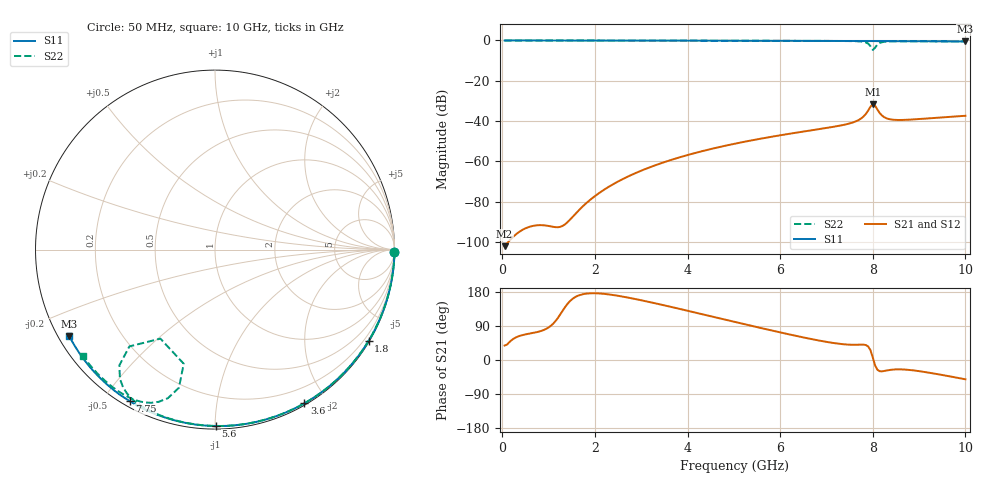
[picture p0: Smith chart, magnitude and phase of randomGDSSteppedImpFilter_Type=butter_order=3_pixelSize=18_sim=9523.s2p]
! freq	dB(S11)	phase(S11)	dB(S12)	phase(S12)
!  dB(S21)	phase(S21)	dB(S22)	phase(S22)
!S-par simulation data
#  GHz  S  DB  R 50
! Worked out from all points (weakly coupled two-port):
!   200 points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, 50 MHz to 10 GHz, reference 50 ohm
!   highest |S21| = -31.65 dB at 8 GHz (marker M1); lowest = -102.2 dB at 50 MHz (marker M2)
!   lowest |S11| = -0.5 dB at 10 GHz (marker M3), VSWR 34.74, Z = 1.55 - j13.7 ohm
!   |S11| at or under -10 dB: nowhere
!   |S22| runs from -4.7 to 0.0 dB; largest |S21 - S12| = 0
!   S11 on the Smith chart (normalised r, x): 50 MHz: open; 1.8 GHz: 0.03, -3.64; 3.6 GHz: 0.02, -1.74; 5.6 GHz: 0.02, -1.00; 7.75 GHz: 0.02, -0.58; 10 GHz: 0.03, -0.27
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0.05  -0.00 -0.9  -102.16 38.1  -102.16 38.1  -0.00 -0.8
1.75  -0.04 -29.8  -82.13 173.9  -82.13 173.9  -0.04 -28.6
1.8  -0.04 -30.7  -81.07 174.9  -81.07 174.9  -0.04 -29.4
1.85  -0.04 -31.5  -80.06 175.6  -80.06 175.6  -0.04 -30.2
2.2  -0.05 -37.3  -74.09 174.5  -74.09 174.5  -0.05 -35.7
2.55  -0.05 -43.1  -69.44 168.4  -69.44 168.4  -0.05 -41.3
3.4  -0.07 -56.7  -61.19 147.0  -61.19 147.0  -0.07 -54.4
3.6  -0.08 -59.8  -59.66 141.4  -59.66 141.4  -0.08 -57.4
5.05  -0.13 -81.8  -51.13 99.6  -51.13 99.6  -0.12 -78.7
5.6  -0.15 -89.8  -48.69 84.0  -48.69 84.0  -0.14 -86.5
6.7  -0.20 -105.2  -44.53 54.6  -44.53 54.6  -0.20 -102.0
7.45  -0.25 -115.4  -41.51 40.7  -41.51 40.7  -0.30 -113.9
7.75  -0.28 -119.4  -38.71 40.6  -38.71 40.6  -0.55 -121.6
7.9  -0.29 -121.4  -34.84 35.7  -34.84 35.7  -1.55 -129.6
7.95  -0.29 -122.1  -32.91 26.0  -32.91 26.0  -2.85 -131.5
8  -0.29 -122.7  -31.65 6.8  -31.65 6.8  -4.70 -121.5
8.05  -0.29 -123.4  -32.42 -14.2  -32.42 -14.2  -3.62 -105.3
8.1  -0.30 -124.1  -34.34 -25.8  -34.34 -25.8  -1.99 -104.6
8.15  -0.30 -124.8  -36.06 -29.7  -36.06 -29.7  -1.22 -107.6
8.35  -0.32 -127.5  -39.04 -26.6  -39.04 -26.6  -0.52 -115.9
8.95  -0.38 -135.4  -39.10 -28.6  -39.10 -28.6  -0.40 -127.0
10  -0.50 -149.4  -37.40 -50.9  -37.40 -50.9  -0.49 -141.3
